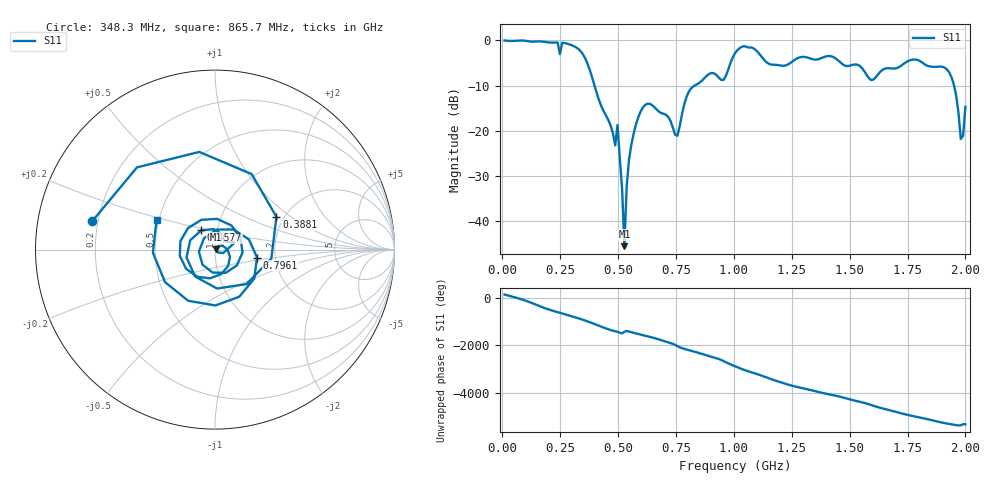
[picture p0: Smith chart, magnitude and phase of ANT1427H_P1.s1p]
!Created with skrf (http://scikit-rf.org).
# Hz S RI R 50.0
!freq ReS11 ImS11
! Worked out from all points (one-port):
!   201 points, 10 MHz to 2 GHz, reference 50 ohm
!   lowest |S11| = -45.6 dB at 527.4 MHz (marker M1), VSWR 1.01, Z = 50.5 + j0.192 ohm
!   |S11| at or under -10 dB: 398.3 MHz to 830.6 MHz (432.3 MHz wide, 70.4 % of centre); 1.951 GHz to end of sweep
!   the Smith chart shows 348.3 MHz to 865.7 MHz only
!   S11 on the Smith chart (normalised r, x): 348.3 MHz: 0.18, +0.11; 388.1 MHz: 1.82, +0.78; 457.8 MHz: 0.84, +0.18; 796 MHz: 1.60, -0.15; 865.7 MHz: 0.49, +0.19
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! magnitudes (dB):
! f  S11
! 10 MHz  0.0
! 258.8 MHz  -0.5
! 348.3 MHz  -3.1
! 388.1 MHz  -8.2
! 457.8 MHz  -17.6
! 487.6 MHz  -23.2
! 497.6 MHz  -18.7
! 507.5 MHz  -26.1
! 517.5 MHz  -32.9
! 527.4 MHz  -45.6
! 537.4 MHz  -32.2
! 547.3 MHz  -26.4
! 597 MHz  -15.8
! 646.8 MHz  -14.3
! 756.2 MHz  -21.1
! 796 MHz  -12.4
! 865.7 MHz  -8.7
! 955.2 MHz  -8.7
! 1.005 GHz  -2.8
! 1.254 GHz  -4.6
! 1.502 GHz  -5.6
! 1.592 GHz  -8.8
! 1.751 GHz  -4.6
! 1.93 GHz  -7.1
! 1.96 GHz  -12.2
! 1.98 GHz  -21.8
! 1.99 GHz  -21.1
! 2 GHz  -14.7
